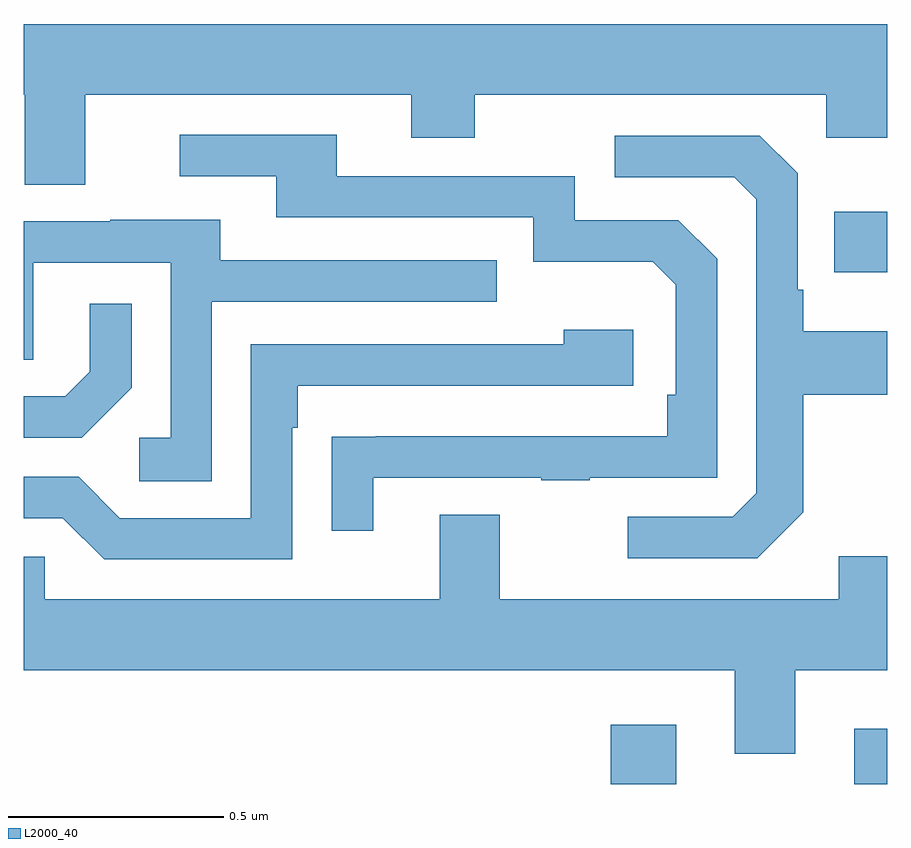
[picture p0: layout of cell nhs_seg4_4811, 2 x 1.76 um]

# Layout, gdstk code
import gdstk
lib = gdstk.Library(unit=1e-6, precision=1e-09)
def R(c, l, rs):  # rectangles x0, y0, x1, y1
    for r in rs: c.add(gdstk.rectangle(r[:2], r[2:], *l))
def P(c, l, *ps):  # polygons
    for p in ps: c.add(gdstk.Polygon(p, *l))
L2000_40 = (2000, 40)

nhs_seg4_4811 = lib.new_cell('nhs_seg4_4811')
R(nhs_seg4_4811, L2000_40, [(171.359,785.9,171.511,786.037), (171.923,785.9,172,786.028), (171.877,787.085,172,787.225)])
P(nhs_seg4_4811, L2000_40, [(170.143,787.496),(170.897,787.496),(170.897,787.397),(171.045,787.397),(171.045,787.496),(171.858,787.496),(171.858,787.397),(172,787.397),(172,787.66),(170,787.66),(170,787.496),(170.003,787.496),(170.003,787.288),(170.143,787.288)],
  [(170.809,786.609),(171.199,786.609),(171.199,786.604),(171.311,786.604),(171.311,786.609),(171.606,786.609),(171.606,787.116),(171.516,787.206),(171.276,787.206),(171.276,787.308),(170.725,787.308),(170.725,787.404),(170.361,787.404),(170.361,787.308),(170.585,787.308),(170.585,787.212),(171.18,787.212),(171.18,787.109),(171.457,787.109),(171.51,787.056),(171.51,786.802),(171.49,786.802),(171.49,786.705),(170.815,786.705),(170.815,786.704),(170.713,786.704),(170.713,786.486),(170.809,786.486)],
  [(171.805,786.529),(171.805,786.802),(172,786.802),(172,786.949),(171.805,786.949),(171.805,787.045),(171.792,787.045),(171.792,787.314),(171.705,787.401),(171.369,787.401),(171.369,787.305),(171.645,787.305),(171.696,787.254),(171.696,786.573),(171.642,786.519),(171.399,786.519),(171.399,786.423),(171.699,786.423)],
  [(170.436,787.017),(171.095,787.017),(171.095,787.113),(170.455,787.113),(170.455,787.207),(170.201,787.207),(170.201,787.203),(170,787.203),(170,786.883),(170.022,786.883),(170.022,787.107),(170.34,787.107),(170.34,786.702),(170.268,786.702),(170.268,786.601),(170.436,786.601)],
  [(170.25,786.818),(170.25,787.012),(170.153,787.012),(170.153,786.855),(170.096,786.798),(170,786.798),(170,786.702),(170.134,786.702)],
  [(170.622,786.725),(170.635,786.725),(170.635,786.822),(171.412,786.822),(171.412,786.952),(171.251,786.952),(171.251,786.918),(170.526,786.918),(170.526,786.516),(170.223,786.516),(170.127,786.612),(170,786.612),(170,786.516),(170.091,786.516),(170.187,786.42),(170.622,786.42)],
  [(171.787,786.164),(172,786.164),(172,786.427),(171.887,786.427),(171.887,786.328),(171.103,786.328),(171.103,786.523),(170.963,786.523),(170.963,786.328),(170.049,786.328),(170.049,786.426),(170,786.426),(170,786.164),(171.647,786.164),(171.647,785.97),(171.787,785.97)])

lib.write_gds('nhs_seg4_4811.gds')
